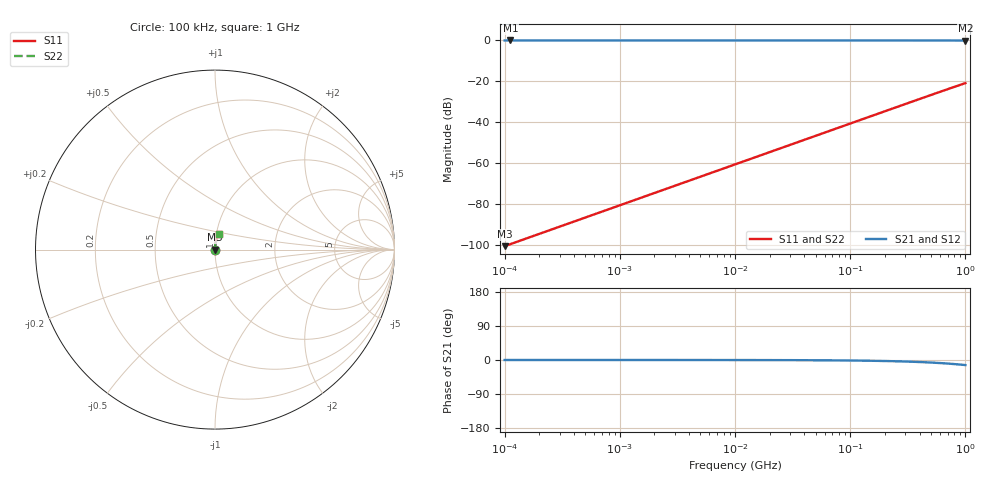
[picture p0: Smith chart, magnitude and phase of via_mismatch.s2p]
# Hz S RI R 50
! golden: via_mismatch
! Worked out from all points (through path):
!   81 points, 100 kHz to 1 GHz, reference 50 ohm
!   highest |S21| = 0.00 dB at 112.2 kHz (marker M1); lowest = 0.0 dB at 1 GHz (marker M2)
!   group delay of S21, straight-line fit = 37.2 ps
!   lowest |S11| = -100.7 dB at 100 kHz (marker M3), VSWR 1.00, Z = 50 + j0.000927 ohm
!   |S11| at or under -10 dB: start of sweep to end of sweep
!   |S22| runs from -100.7 to -20.9 dB; largest |S21 - S12| = 0
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100000  2.17e-10 9.27e-06  1 -2.34e-05  1 -2.34e-05  2.17e-10 9.27e-06
112201.8  2.73e-10 1.04e-05  1 -2.63e-05  1 -2.63e-05  2.73e-10 1.04e-05
501187.2  5.45e-09 4.64e-05  1 -0.000117  1 -0.000117  5.45e-09 4.64e-05
1000000  2.17e-08 9.27e-05  1 -0.000234  1 -0.000234  2.17e-08 9.27e-05
1122018  2.73e-08 0.000104  1 -0.000263  1 -0.000263  2.73e-08 0.000104
2238721  1.09e-07 0.000207  1 -0.000524  1 -0.000524  1.09e-07 0.000207
1e7  2.17e-06 0.000927  1 -0.00234  1 -0.00234  2.17e-06 0.000927
2.511886e7  1.37e-05 0.00233  1 -0.00588  1 -0.00588  1.37e-05 0.00233
5.011872e7  5.45e-05 0.00464  0.9999 -0.0117  0.9999 -0.0117  5.45e-05 0.00464
7.943282e7  0.000137 0.00736  0.9998 -0.0186  0.9998 -0.0186  0.000137 0.00736
1.122018e8  0.000273 0.0104  0.9996 -0.0263  0.9996 -0.0263  0.000273 0.0104
1.584893e8  0.000544 0.0147  0.9992 -0.0371  0.9992 -0.0371  0.000544 0.0147
2.238721e8  0.00109 0.0207  0.9984 -0.0524  0.9984 -0.0524  0.00109 0.0207
2.818383e8  0.00172 0.026  0.9975 -0.0659  0.9975 -0.0659  0.00172 0.026
3.548134e8  0.00272 0.0327  0.996 -0.0829  0.996 -0.0829  0.00272 0.0327
4.466836e8  0.0043 0.041  0.9937 -0.1042  0.9937 -0.1042  0.0043 0.041
5.011872e8  0.0054 0.0458  0.9921 -0.1168  0.9921 -0.1168  0.0054 0.0458
6.309573e8  0.00851 0.0573  0.9875 -0.1467  0.9875 -0.1467  0.00851 0.0573
7.079458e8  0.0107 0.0639  0.9843 -0.1643  0.9843 -0.1643  0.0107 0.0639
7.943282e8  0.0134 0.0712  0.9803 -0.184  0.9803 -0.184  0.0134 0.0712
8.912509e8  0.0167 0.0792  0.9752 -0.2059  0.9752 -0.2059  0.0167 0.0792
1e9  0.0209 0.088  0.9689 -0.2303  0.9689 -0.2303  0.0209 0.088
